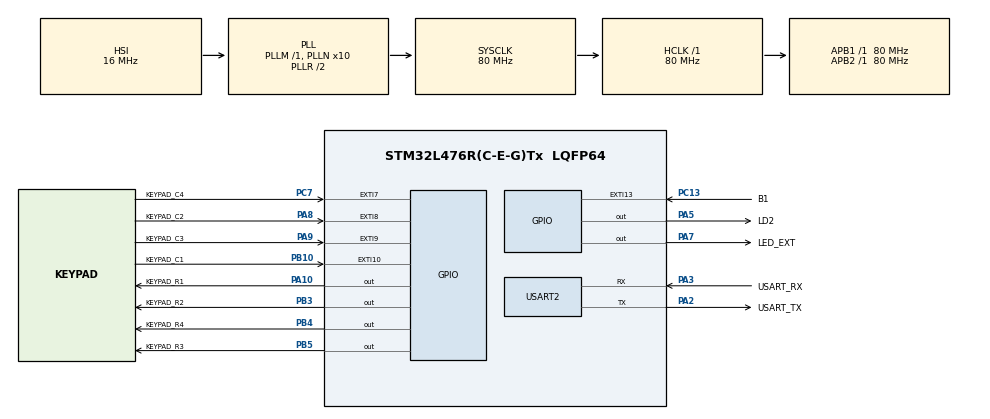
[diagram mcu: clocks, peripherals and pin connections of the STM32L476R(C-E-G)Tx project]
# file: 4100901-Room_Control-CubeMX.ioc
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Mcu.Family=STM32L4
Mcu.Name=STM32L476R(C-E-G)Tx
Mcu.Package=LQFP64
NVIC.EXTI15_10_IRQn=true\:0\:0\:false\:false\:true\:true\:true\:true
NVIC.EXTI9_5_IRQn=true\:0\:0\:false\:false\:true\:true\:true\:true
NVIC.PriorityGroup=NVIC_PRIORITYGROUP_4
NVIC.USART2_IRQn=true\:0\:0\:false\:false\:true\:true\:true\:true
PA10.GPIO_Label=KEYPAD_R1
PA10.Signal=GPIO_Output
PA13\ (JTMS-SWDIO).GPIO_Label=TMS
PA13\ (JTMS-SWDIO).Mode=Serial_Wire
PA13\ (JTMS-SWDIO).Signal=SYS_JTMS-SWDIO
PA14\ (JTCK-SWCLK).GPIO_Label=TCK
PA14\ (JTCK-SWCLK).Mode=Serial_Wire
PA14\ (JTCK-SWCLK).Signal=SYS_JTCK-SWCLK
PA2.GPIO_Label=USART_TX
PA2.GPIO_Mode=GPIO_MODE_AF_PP
PA2.GPIO_PuPd=GPIO_NOPULL
PA2.GPIO_Speed=GPIO_SPEED_FREQ_VERY_HIGH
PA2.Mode=Asynchronous
PA2.Signal=USART2_TX
PA3.GPIO_Label=USART_RX
PA3.GPIO_Mode=GPIO_MODE_AF_PP
PA3.GPIO_PuPd=GPIO_NOPULL
PA3.GPIO_Speed=GPIO_SPEED_FREQ_VERY_HIGH
PA3.Mode=Asynchronous
PA3.Signal=USART2_RX
PA5.GPIO_Label=LD2 
PA5.GPIO_ModeDefaultOutputPP=GPIO_MODE_OUTPUT_PP
PA5.GPIO_PuPd=GPIO_NOPULL
PA5.GPIO_Speed=GPIO_SPEED_FREQ_LOW
PA5.Signal=GPIO_Output
PA7.GPIO_Label=LED_EXT
PA7.Signal=GPIO_Output
PA8.GPIO_Label=KEYPAD_C2
PA8.GPIO_PuPd=GPIO_PULLUP
PA8.Signal=GPXTI8
PA9.GPIO_Label=KEYPAD_C3
PA9.GPIO_PuPd=GPIO_PULLUP
PA9.Signal=GPXTI9
PB10.GPIO_Label=KEYPAD_C1
PB10.GPIO_PuPd=GPIO_PULLUP
PB10.Signal=GPXTI10
PB3\ (JTDO-TRACESWO).GPIO_Label=KEYPAD_R2
PB3\ (JTDO-TRACESWO).Signal=GPIO_Output
PB4\ (NJTRST).GPIO_Label=KEYPAD_R4
PB4\ (NJTRST).Signal=GPIO_Output
PB5.GPIO_Label=KEYPAD_R3
PB5.Signal=GPIO_Output
PC13.GPIO_Label=B1
PC13.GPIO_ModeDefaultEXTI=GPIO_MODE_IT_FALLING
PC13.GPIO_PuPd=GPIO_NOPULL
PC13.Signal=GPXTI13
PC14-OSC32_IN\ (PC14).Mode=LSE-External-Oscillator
PC14-OSC32_IN\ (PC14).Signal=RCC_OSC32_IN
PC15-OSC32_OUT\ (PC15).Mode=LSE-External-Oscillator
PC15-OSC32_OUT\ (PC15).Signal=RCC_OSC32_OUT
PC7.GPIO_Label=KEYPAD_C4
PC7.GPIO_PuPd=GPIO_PULLUP
PC7.Signal=GPXTI7
PH0-OSC_IN\ (PH0).Signal=RCC_OSC_IN
PH1-OSC_OUT\ (PH1).Signal=RCC_OSC_OUT
ProjectManager.HeapSize=0x200
ProjectManager.StackSize=0x400
ProjectManager.TargetToolchain=CMake
RCC.ADCFreq_Value=64000000
RCC.AHBFreq_Value=80000000
RCC.APB1Freq_Value=80000000
RCC.APB1TimFreq_Value=80000000
RCC.APB2Freq_Value=80000000
RCC.APB2TimFreq_Value=80000000
RCC.CortexFreq_Value=80000000
RCC.HCLKFreq_Value=80000000
RCC.HSE_VALUE=8000000
RCC.HSI_VALUE=16000000
RCC.MSI_VALUE=4000000
RCC.PLLN=10
RCC.PLLSourceVirtual=RCC_PLLSOURCE_HSI
RCC.PREFETCH_ENABLE=1
RCC.SYSCLKFreq_VALUE=80000000
RCC.SYSCLKSource=RCC_SYSCLKSOURCE_PLLCLK
RCC.USBFreq_Value=64000000
RCC.VCOOutputFreq_Value=160000000
USART2.VirtualMode-Asynchronous=VM_ASYNC
board=NUCLEO-L476RG

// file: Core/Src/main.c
/* USER CODE BEGIN Header */
/**
  ******************************************************************************
  * @file           : main.c
  * @brief          : Main program body
  ******************************************************************************
  * @attention
  *
  * Copyright (c) 2025 STMicroelectronics.
  * All rights reserved.
  *
  * This software is licensed under terms that can be found in the LICENSE file
  * in the root directory of this software component.
  * If no LICENSE file comes with this software, it is provided AS-IS.
  *
  ******************************************************************************
  */
/* USER CODE END Header */
#include "main.h"

/* USER CODE BEGIN Includes */
#include "led_driver.h"
#include "ring_buffer.h"
#include "keypad_driver.h"
#include "ring_buffer.h"
#include <stdio.h>
#include <string.h>
/* USER CODE END Includes */

UART_HandleTypeDef huart2;

/* USER CODE BEGIN PV */

volatile uint16_t last_exti_pin = 0;

// --- INICIO: Código para el Teclado Matricial ---

// 1.1. Definición del manejador del teclado (keypad handle)
// Asegúrate que los nombres de los puertos y pines coincidan con los de tu main.h
keypad_handle_t keypad = {                 // Guarda los pines y puertos del teclado (4 filas y 4 columnas).
    .row_ports = {KEYPAD_R1_GPIO_Port, KEYPAD_R2_GPIO_Port, KEYPAD_R3_GPIO_Port, KEYPAD_R4_GPIO_Port},
    .row_pins = {KEYPAD_R1_Pin, KEYPAD_R2_Pin, KEYPAD_R3_Pin, KEYPAD_R4_Pin},
    .col_ports = {KEYPAD_C1_GPIO_Port, KEYPAD_C2_GPIO_Port, KEYPAD_C3_GPIO_Port, KEYPAD_C4_GPIO_Port},
    .col_pins = {KEYPAD_C1_Pin, KEYPAD_C2_Pin, KEYPAD_C3_Pin, KEYPAD_C4_Pin}
};

// 1.2. Buffer circular para almacenar las pulsaciones del teclado
#define KEYPAD_BUFFER_LEN 16
uint8_t keypad_buffer[KEYPAD_BUFFER_LEN];
ring_buffer_t keypad_rb;  //Buffer circular para almacenar las teclas presionadas.

// 1.3. Lógica para la clave
#define PASSWORD_LEN 4
const char PASSWORD[PASSWORD_LEN] = {'1', '0', '0', '7'}; // Clave secreta
char input_buffer[PASSWORD_LEN];
uint8_t input_index = 0;   //La clave correcta y el buffer donde se guardan las teclas ingresadas.

led_handle_t led1 = {      //El LED está conectado al pin PA5.
  .port = GPIOA,
  .pin = GPIO_PIN_5
};

#define UART2_RX_LEN 16
uint8_t uart2_rx_buffer[UART2_RX_LEN];
ring_buffer_t uart2_rx_rb;
uint8_t uart2_rx_data; // Buffers y variables para manejar la comunicación UART.
/* USER CODE END PV */

void SystemClock_Config(void);
static void MX_GPIO_Init(void);
static void MX_USART2_UART_Init(void);

/* USER CODE BEGIN 0 */
void HAL_UART_RxCpltCallback(UART_HandleTypeDef *huart)         //Cada vez que llega un dato por UART2:Lo vuelve a habilitar para seguir recibiendo y Lo guarda en el buffer circular.
{
    if (huart->Instance == USART2) {
      HAL_UART_Receive_IT(&huart2, &uart2_rx_data, 1);
      ring_buffer_write(&uart2_rx_rb, uart2_rx_data);
    }
}

/* Implementación para redirigir printf/gets al UART */
int __io_putchar(int ch)       //Envía un carácter al PC.
{
  uint8_t c = (uint8_t)ch;
  HAL_UART_Transmit(&huart2, &c, 1, HAL_MAX_DELAY);
  return ch;
}

int __io_getchar(void)        //Recibe un carácter del PC.
{
  uint8_t c = 0;
  if (HAL_UART_Receive(&huart2, &c, 1, HAL_MAX_DELAY) == HAL_OK) {
    return (int)c;
  }
  return -1;
}
/* USER CODE END 0 */

int main(void)
{

  /* MCU Configuration--------------------------------------------------------*/

  /* Reset of all peripherals, Initializes the Flash interface and the Systick. */
  HAL_Init();

  /* Configure the system clock */
  SystemClock_Config();

  /* Initialize all configured peripherals */
  MX_GPIO_Init();
  MX_USART2_UART_Init();       //Inicializa el sistema, los pines y la comunicación UART.
  /* USER CODE BEGIN 2 */
  led_init(&led1);

    // Inicialización del buffer circular para el teclado
  ring_buffer_init(&keypad_rb, keypad_buffer, KEYPAD_BUFFER_LEN);

  // Inicialización del driver del teclado (esto "arma" las interrupciones)
  keypad_init(&keypad);

  // Mensaje de bienvenida (requiere que printf esté redirigido a UART)
  printf("Sistema listo. Ingrese la clave de %d digitos...\r\n", PASSWORD_LEN);

  ring_buffer_init(&uart2_rx_rb, uart2_rx_buffer, UART2_RX_LEN);
  HAL_UART_Receive_IT(&huart2, &uart2_rx_data, 1);
  /* USER CODE END 2 */

  /* Infinite loop */
/* USER CODE BEGIN WHILE */
while (1)
{
    // --- 1. Procesar interrupciones pendientes del teclado ---
    if (last_exti_pin != 0)
    {
        // Escanear la tecla correspondiente fuera de la interrupción
        char key = keypad_scan(&keypad, last_exti_pin);

        // Limpiar bandera para siguiente evento
        last_exti_pin = 0;

        // Si se detectó una tecla válida, almacenarla en el buffer circular
        if (key != '\0')
        {
            ring_buffer_write(&keypad_rb, (uint8_t)key);
        }

        // Rehabilitar interrupciones del teclado después de procesar
        HAL_NVIC_EnableIRQ(EXTI15_10_IRQn);
    }

    // --- 2. Verificar si hay teclas en el buffer para procesar ---
    uint8_t key_from_buffer;

    if (ring_buffer_read(&keypad_rb, &key_from_buffer))
    {
        printf("Tecla presionada: %c\r\n", (char)key_from_buffer);

        // 3. Almacenar la tecla en el buffer de entrada
        if (input_index < PASSWORD_LEN)
        {
            input_buffer[input_index] = (char)key_from_buffer;
            input_index++;
        }

        // 4. Si ya se ingresaron los 4 dígitos, verificar la clave
        if (input_index == PASSWORD_LEN)
        {
            if (strncmp(input_buffer, PASSWORD, PASSWORD_LEN) == 0)
            {
                // CLAVE CORRECTA
                printf("Clave CORRECTA. LED encendido.\r\n");
                led_on(&led1); // Encender el LED
            }
            else
            {
                // CLAVE INCORRECTA
                printf("Clave INCORRECTA. LED parpadea.\r\n");
                for (int i = 0; i < 3; i++)
                {
                    led_on(&led1);
                    HAL_Delay(150);
                    led_off(&led1);
                    HAL_Delay(150);
                }
            }

            // 5. Reiniciar el índice para la próxima clave
            input_index = 0;
            printf("\nIngrese la clave de %d dígitos...\r\n", PASSWORD_LEN);
        }
    }

    // --- 3. Aquí podrías agregar otras tareas no bloqueantes ---
}
/* USER CODE END WHILE */

}

void SystemClock_Config(void)
{
  RCC_OscInitTypeDef RCC_OscInitStruct = {0};
  RCC_ClkInitTypeDef RCC_ClkInitStruct = {0};

  /** Configure the main internal regulator output voltage
  */
  if (HAL_PWREx_ControlVoltageScaling(PWR_REGULATOR_VOLTAGE_SCALE1) != HAL_OK)
  {
    Error_Handler();
  }

  /** Initializes the RCC Oscillators according to the specified parameters
  * in the RCC_OscInitTypeDef structure.
  */
  RCC_OscInitStruct.OscillatorType = RCC_OSCILLATORTYPE_HSI;
  RCC_OscInitStruct.HSIState = RCC_HSI_ON;
  RCC_OscInitStruct.HSICalibrationValue = RCC_HSICALIBRATION_DEFAULT;
  RCC_OscInitStruct.PLL.PLLState = RCC_PLL_ON;
  RCC_OscInitStruct.PLL.PLLSource = RCC_PLLSOURCE_HSI;
  RCC_OscInitStruct.PLL.PLLM = 1;
  RCC_OscInitStruct.PLL.PLLN = 10;
  RCC_OscInitStruct.PLL.PLLP = RCC_PLLP_DIV7;
  RCC_OscInitStruct.PLL.PLLQ = RCC_PLLQ_DIV2;
  RCC_OscInitStruct.PLL.PLLR = RCC_PLLR_DIV2;
  if (HAL_RCC_OscConfig(&RCC_OscInitStruct) != HAL_OK)
  {
    Error_Handler();
  }

  /** Initializes the CPU, AHB and APB buses clocks
  */
  RCC_ClkInitStruct.ClockType = RCC_CLOCKTYPE_HCLK|RCC_CLOCKTYPE_SYSCLK
                              |RCC_CLOCKTYPE_PCLK1|RCC_CLOCKTYPE_PCLK2;
  RCC_ClkInitStruct.SYSCLKSource = RCC_SYSCLKSOURCE_PLLCLK;
  RCC_ClkInitStruct.AHBCLKDivider = RCC_SYSCLK_DIV1;
  RCC_ClkInitStruct.APB1CLKDivider = RCC_HCLK_DIV1;
  RCC_ClkInitStruct.APB2CLKDivider = RCC_HCLK_DIV1;

  if (HAL_RCC_ClockConfig(&RCC_ClkInitStruct, FLASH_LATENCY_4) != HAL_OK)
  {
    Error_Handler();
  }
}

static void MX_USART2_UART_Init(void)
{

  huart2.Instance = USART2;
  huart2.Init.BaudRate = 115200;
  huart2.Init.WordLength = UART_WORDLENGTH_8B;
  huart2.Init.StopBits = UART_STOPBITS_1;
  huart2.Init.Parity = UART_PARITY_NONE;
  huart2.Init.Mode = UART_MODE_TX_RX;
  huart2.Init.HwFlowCtl = UART_HWCONTROL_NONE;
  huart2.Init.OverSampling = UART_OVERSAMPLING_16;
  huart2.Init.OneBitSampling = UART_ONE_BIT_SAMPLE_DISABLE;
  huart2.AdvancedInit.AdvFeatureInit = UART_ADVFEATURE_NO_INIT;
  if (HAL_UART_Init(&huart2) != HAL_OK)
  {
    Error_Handler();           //Si algo falla, se queda en un bucle infinito.
  }

}

static void MX_GPIO_Init(void)
{
  GPIO_InitTypeDef GPIO_InitStruct = {0};

  /* GPIO Ports Clock Enable */
  __HAL_RCC_GPIOC_CLK_ENABLE();
  __HAL_RCC_GPIOH_CLK_ENABLE();
  __HAL_RCC_GPIOA_CLK_ENABLE();
  __HAL_RCC_GPIOB_CLK_ENABLE();

  /*Configure GPIO pin Output Level */
  HAL_GPIO_WritePin(GPIOA, LD2_Pin|LED_EXT_Pin|KEYPAD_R1_Pin, GPIO_PIN_RESET);

  /*Configure GPIO pin Output Level */
  HAL_GPIO_WritePin(GPIOB, KEYPAD_R2_Pin|KEYPAD_R4_Pin|KEYPAD_R3_Pin, GPIO_PIN_RESET);

  /*Configure GPIO pin : B1_Pin */
  GPIO_InitStruct.Pin = B1_Pin;
  GPIO_InitStruct.Mode = GPIO_MODE_IT_FALLING;
  GPIO_InitStruct.Pull = GPIO_NOPULL;
  HAL_GPIO_Init(B1_GPIO_Port, &GPIO_InitStruct);

  /*Configure GPIO pins : LD2_Pin LED_EXT_Pin KEYPAD_R1_Pin */
  GPIO_InitStruct.Pin = LD2_Pin|LED_EXT_Pin|KEYPAD_R1_Pin;
  GPIO_InitStruct.Mode = GPIO_MODE_OUTPUT_PP;
  GPIO_InitStruct.Pull = GPIO_NOPULL;
  GPIO_InitStruct.Speed = GPIO_SPEED_FREQ_LOW;
  HAL_GPIO_Init(GPIOA, &GPIO_InitStruct);

  /*Configure GPIO pin : KEYPAD_C1_Pin */
  GPIO_InitStruct.Pin = KEYPAD_C1_Pin;
  GPIO_InitStruct.Mode = GPIO_MODE_IT_FALLING;
  GPIO_InitStruct.Pull = GPIO_PULLUP;
  HAL_GPIO_Init(KEYPAD_C1_GPIO_Port, &GPIO_InitStruct);

  /*Configure GPIO pin : KEYPAD_C4_Pin */
  GPIO_InitStruct.Pin = KEYPAD_C4_Pin;
  GPIO_InitStruct.Mode = GPIO_MODE_IT_FALLING;
  GPIO_InitStruct.Pull = GPIO_PULLUP;
  HAL_GPIO_Init(KEYPAD_C4_GPIO_Port, &GPIO_InitStruct);

  /*Configure GPIO pins : KEYPAD_C2_Pin KEYPAD_C3_Pin */
  GPIO_InitStruct.Pin = KEYPAD_C2_Pin|KEYPAD_C3_Pin;
  GPIO_InitStruct.Mode = GPIO_MODE_IT_FALLING;
  GPIO_InitStruct.Pull = GPIO_PULLUP;
  HAL_GPIO_Init(GPIOA, &GPIO_InitStruct);

  /*Configure GPIO pins : KEYPAD_R2_Pin KEYPAD_R4_Pin KEYPAD_R3_Pin */
  GPIO_InitStruct.Pin = KEYPAD_R2_Pin|KEYPAD_R4_Pin|KEYPAD_R3_Pin;
  GPIO_InitStruct.Mode = GPIO_MODE_OUTPUT_PP;
  GPIO_InitStruct.Pull = GPIO_NOPULL;
  GPIO_InitStruct.Speed = GPIO_SPEED_FREQ_LOW;
  HAL_GPIO_Init(GPIOB, &GPIO_InitStruct);

  /* EXTI interrupt init*/
  HAL_NVIC_SetPriority(EXTI9_5_IRQn, 0, 0);
  HAL_NVIC_EnableIRQ(EXTI9_5_IRQn);

  HAL_NVIC_SetPriority(EXTI15_10_IRQn, 0, 0);
  HAL_NVIC_EnableIRQ(EXTI15_10_IRQn);

}

/* USER CODE BEGIN 4 */

void HAL_GPIO_EXTI_Callback(uint16_t GPIO_Pin)
{
    // Solo registrar el pin que generó la interrupción
    HAL_NVIC_DisableIRQ(EXTI15_10_IRQn);
    last_exti_pin = GPIO_Pin;
}
/* USER CODE END 4 */

void Error_Handler(void)
{
  __disable_irq();
  while (1)
  {
  }
}
